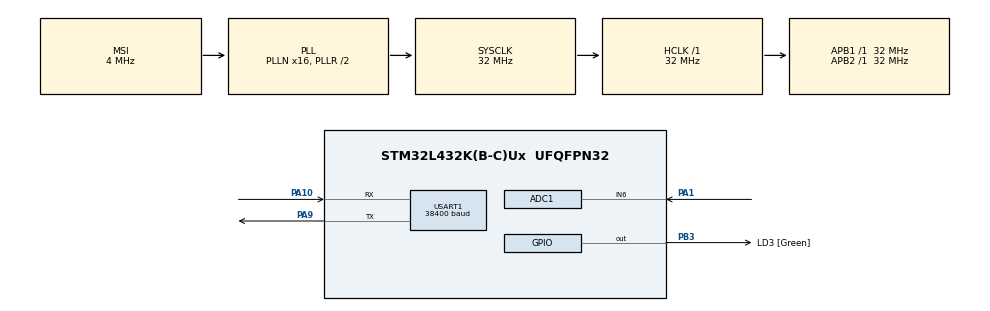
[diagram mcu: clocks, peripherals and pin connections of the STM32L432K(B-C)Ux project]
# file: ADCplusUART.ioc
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ADC1.Channel-52\#ChannelRegularConversion=ADC_CHANNEL_6
ADC1.ClockPrescaler=ADC_CLOCK_ASYNC_DIV128
ADC1.NbrOfConversionFlag=1
ADC1.OffsetNumber-52\#ChannelRegularConversion=ADC_OFFSET_NONE
ADC1.Rank-52\#ChannelRegularConversion=1
ADC1.SamplingTime-52\#ChannelRegularConversion=ADC_SAMPLETIME_640CYCLES_5
ADC1.master=1
Dma.Request0=USART1_RX
Dma.Request1=USART1_TX
Dma.USART1_RX.0.Direction=DMA_PERIPH_TO_MEMORY
Dma.USART1_RX.0.Instance=DMA1_Channel5
Dma.USART1_RX.0.MemDataAlignment=DMA_MDATAALIGN_BYTE
Dma.USART1_RX.0.MemInc=DMA_MINC_ENABLE
Dma.USART1_RX.0.Mode=DMA_NORMAL
Dma.USART1_RX.0.PeriphDataAlignment=DMA_PDATAALIGN_BYTE
Dma.USART1_RX.0.PeriphInc=DMA_PINC_DISABLE
Dma.USART1_RX.0.Priority=DMA_PRIORITY_LOW
Dma.USART1_TX.1.Direction=DMA_MEMORY_TO_PERIPH
Dma.USART1_TX.1.Instance=DMA1_Channel4
Dma.USART1_TX.1.MemDataAlignment=DMA_MDATAALIGN_BYTE
Dma.USART1_TX.1.MemInc=DMA_MINC_ENABLE
Dma.USART1_TX.1.Mode=DMA_NORMAL
Dma.USART1_TX.1.PeriphDataAlignment=DMA_PDATAALIGN_BYTE
Dma.USART1_TX.1.PeriphInc=DMA_PINC_DISABLE
Dma.USART1_TX.1.Priority=DMA_PRIORITY_LOW
Mcu.Family=STM32L4
Mcu.Name=STM32L432K(B-C)Ux
Mcu.Package=UFQFPN32
NVIC.DMA1_Channel4_IRQn=true\:0\:0\:false\:false\:true\:false
NVIC.DMA1_Channel5_IRQn=true\:0\:0\:false\:false\:true\:false
NVIC.PriorityGroup=NVIC_PRIORITYGROUP_4
NVIC.USART1_IRQn=true\:0\:0\:false\:false\:true\:true
PA0.GPIO_Label=MCO [High speed clock in]
PA0.Mode=HSE-External-Clock-Source-for-LittleOrca
PA0.Signal=RCC_CK_IN
PA1.Signal=ADCx_IN6
PA10.Mode=Asynchronous
PA10.Signal=USART1_RX
PA13\ (JTMS-SWDIO).GPIO_Label=SWDIO
PA13\ (JTMS-SWDIO).Mode=Serial_Wire
PA13\ (JTMS-SWDIO).Signal=SYS_JTMS-SWDIO
PA14\ (JTCK-SWCLK).GPIO_Label=SWCLK
PA14\ (JTCK-SWCLK).Mode=Serial_Wire
PA14\ (JTCK-SWCLK).Signal=SYS_JTCK-SWCLK
PA9.Mode=Asynchronous
PA9.Signal=USART1_TX
PB3\ (JTDO-TRACESWO).GPIO_Label=LD3 [Green]
PB3\ (JTDO-TRACESWO).Signal=GPIO_Output
PC14-OSC32_IN\ (PC14).Mode=LSE-External-Oscillator
PC14-OSC32_IN\ (PC14).Signal=RCC_OSC32_IN
PC15-OSC32_OUT\ (PC15).Mode=LSE-External-Oscillator
PC15-OSC32_OUT\ (PC15).Signal=RCC_OSC32_OUT
ProjectManager.HeapSize=0x200
ProjectManager.StackSize=0x400
ProjectManager.TargetToolchain=SW4STM32
RCC.ADCCLockSelection=RCC_ADCCLKSOURCE_SYSCLK
RCC.ADCFreq_Value=32000000
RCC.AHBFreq_Value=32000000
RCC.APB1Freq_Value=32000000
RCC.APB1TimFreq_Value=32000000
RCC.APB2Freq_Value=32000000
RCC.APB2TimFreq_Value=32000000
RCC.CortexFreq_Value=32000000
RCC.HCLKFreq_Value=32000000
RCC.HSE_VALUE=8000000
RCC.HSI16_VALUE=16000000
RCC.HSI48_VALUE=48000000
RCC.HSI_VALUE=16000000
RCC.MSI_VALUE=4000000
RCC.PLLMUL=RCC_PLLMUL_4
RCC.PLLN=16
RCC.PLLSAI1N=16
RCC.SYSCLKFreq_VALUE=32000000
RCC.SYSCLKSource=RCC_SYSCLKSOURCE_PLLCLK
RCC.USBFreq_Value=32000000
RCC.VCOOutputFreq_Value=64000000
SH.ADCx_IN6.0=ADC1_IN6,IN6-Single-Ended
USART1.BaudRate=38400
USART1.VirtualMode-Asynchronous=VM_ASYNC
USART1.WordLength=WORDLENGTH_8B
board=NUCLEO-L432KC

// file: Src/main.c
/**
  ******************************************************************************
  * @file           : main.c
  * @brief          : Main program body
  ******************************************************************************
  ** This notice applies to any and all portions of this file
  * that are not between comment pairs USER CODE BEGIN and
  * USER CODE END. Other portions of this file, whether
  * inserted by the user or by software development tools
  * are owned by their respective copyright owners.
  *
  * COPYRIGHT(c) 2018 STMicroelectronics
  *
  * Redistribution and use in source and binary forms, with or without modification,
  * are permitted provided that the following conditions are met:
  *   1. Redistributions of source code must retain the above copyright notice,
  *      this list of conditions and the following disclaimer.
  *   2. Redistributions in binary form must reproduce the above copyright notice,
  *      this list of conditions and the following disclaimer in the documentation
  *      and/or other materials provided with the distribution.
  *   3. Neither the name of STMicroelectronics nor the names of its contributors
  *      may be used to endorse or promote products derived from this software
  *      without specific prior written permission.
  *
  * THIS SOFTWARE IS PROVIDED BY THE COPYRIGHT HOLDERS AND CONTRIBUTORS "AS IS"
  * AND ANY EXPRESS OR IMPLIED WARRANTIES, INCLUDING, BUT NOT LIMITED TO, THE
  * IMPLIED WARRANTIES OF MERCHANTABILITY AND FITNESS FOR A PARTICULAR PURPOSE ARE
  * DISCLAIMED. IN NO EVENT SHALL THE COPYRIGHT HOLDER OR CONTRIBUTORS BE LIABLE
  * FOR ANY DIRECT, INDIRECT, INCIDENTAL, SPECIAL, EXEMPLARY, OR CONSEQUENTIAL
  * DAMAGES (INCLUDING, BUT NOT LIMITED TO, PROCUREMENT OF SUBSTITUTE GOODS OR
  * SERVICES; LOSS OF USE, DATA, OR PROFITS; OR BUSINESS INTERRUPTION) HOWEVER
  * CAUSED AND ON ANY THEORY OF LIABILITY, WHETHER IN CONTRACT, STRICT LIABILITY,
  * OR TORT (INCLUDING NEGLIGENCE OR OTHERWISE) ARISING IN ANY WAY OUT OF THE USE
  * OF THIS SOFTWARE, EVEN IF ADVISED OF THE POSSIBILITY OF SUCH DAMAGE.
  *
  ******************************************************************************
  */
#include "main.h"
#include "stm32l4xx_hal.h"

ADC_HandleTypeDef hadc1;

UART_HandleTypeDef huart1;
DMA_HandleTypeDef hdma_usart1_rx;
DMA_HandleTypeDef hdma_usart1_tx;

/* USER CODE BEGIN PV */
/* Private variables ---------------------------------------------------------*/

uint8_t data[50]; // Tablica przechowujaca wysylana wiadomosc.
uint8_t received[20]; // Tablica przechowujaca wysylana wiadomosc.
uint8_t Stackreceived[100]; // Tablica przechowujaca wysylana wiadomosc.
uint16_t PomiarADC;
uint8_t size;
/* USER CODE END PV */

void SystemClock_Config(void);
static void MX_GPIO_Init(void);
static void MX_DMA_Init(void);
static void MX_ADC1_Init(void);
static void MX_USART1_UART_Init(void);

/* USER CODE BEGIN PFP */
/* Private function prototypes -----------------------------------------------*/
void HAL_UART_RxCpltCallback(UART_HandleTypeDef *huart) {
	 sprintf(data, "Odebrana wiadomosc: %s", received);

	 HAL_UART_Transmit_DMA(&huart1, data, 40); // Rozpoczecie nadawania danych z wykorzystaniem przerwan
	 HAL_UART_Receive_DMA(&huart1, received, 20); // Ponowne włączenie nasłuchiwania

}
/* USER CODE END PFP */

int main(void)
{

  /* MCU Configuration----------------------------------------------------------*/

  /* Reset of all peripherals, Initializes the Flash interface and the Systick. */
  HAL_Init();

  /* Configure the system clock */
  SystemClock_Config();

  /* Initialize all configured peripherals */
  MX_GPIO_Init();
  MX_DMA_Init();
  MX_ADC1_Init();
  MX_USART1_UART_Init();
  /* USER CODE BEGIN 2 */

 HAL_UART_Receive_DMA(&huart1, received, 20);
 HAL_ADC_Start(&hadc1);
  /* USER CODE END 2 */

  /* Infinite loop */
  /* USER CODE BEGIN WHILE */
  while (1)
  {
	  HAL_Delay(100);
	  if (HAL_ADC_PollForConversion(&hadc1, 10) == HAL_OK) {
		  PomiarADC = HAL_ADC_GetValue(&hadc1);
		  size = sprintf(data, "%d\n", PomiarADC);
		  HAL_UART_Transmit_DMA(&huart1,data,size);
		  HAL_ADC_Start(&hadc1);
		  }
  /* USER CODE END WHILE */

  }

}

void SystemClock_Config(void)
{

  RCC_OscInitTypeDef RCC_OscInitStruct;
  RCC_ClkInitTypeDef RCC_ClkInitStruct;
  RCC_PeriphCLKInitTypeDef PeriphClkInit;

    /**Configure LSE Drive Capability
    */
  HAL_PWR_EnableBkUpAccess();

  __HAL_RCC_LSEDRIVE_CONFIG(RCC_LSEDRIVE_LOW);

    /**Initializes the CPU, AHB and APB busses clocks
    */
  RCC_OscInitStruct.OscillatorType = RCC_OSCILLATORTYPE_LSE|RCC_OSCILLATORTYPE_MSI;
  RCC_OscInitStruct.LSEState = RCC_LSE_ON;
  RCC_OscInitStruct.MSIState = RCC_MSI_ON;
  RCC_OscInitStruct.MSICalibrationValue = 0;
  RCC_OscInitStruct.MSIClockRange = RCC_MSIRANGE_6;
  RCC_OscInitStruct.PLL.PLLState = RCC_PLL_ON;
  RCC_OscInitStruct.PLL.PLLSource = RCC_PLLSOURCE_MSI;
  RCC_OscInitStruct.PLL.PLLN = 16;
  RCC_OscInitStruct.PLL.PLLP = RCC_PLLP_DIV7;
  RCC_OscInitStruct.PLL.PLLQ = RCC_PLLQ_DIV2;
  RCC_OscInitStruct.PLL.PLLR = RCC_PLLR_DIV2;
  if (HAL_RCC_OscConfig(&RCC_OscInitStruct) != HAL_OK)
  {
    _Error_Handler(__FILE__, __LINE__);
  }

    /**Initializes the CPU, AHB and APB busses clocks
    */
  RCC_ClkInitStruct.ClockType = RCC_CLOCKTYPE_HCLK|RCC_CLOCKTYPE_SYSCLK
                              |RCC_CLOCKTYPE_PCLK1|RCC_CLOCKTYPE_PCLK2;
  RCC_ClkInitStruct.SYSCLKSource = RCC_SYSCLKSOURCE_PLLCLK;
  RCC_ClkInitStruct.AHBCLKDivider = RCC_SYSCLK_DIV1;
  RCC_ClkInitStruct.APB1CLKDivider = RCC_HCLK_DIV1;
  RCC_ClkInitStruct.APB2CLKDivider = RCC_HCLK_DIV1;

  if (HAL_RCC_ClockConfig(&RCC_ClkInitStruct, FLASH_LATENCY_1) != HAL_OK)
  {
    _Error_Handler(__FILE__, __LINE__);
  }

  PeriphClkInit.PeriphClockSelection = RCC_PERIPHCLK_USART1|RCC_PERIPHCLK_ADC;
  PeriphClkInit.Usart1ClockSelection = RCC_USART1CLKSOURCE_PCLK2;
  PeriphClkInit.AdcClockSelection = RCC_ADCCLKSOURCE_SYSCLK;
  if (HAL_RCCEx_PeriphCLKConfig(&PeriphClkInit) != HAL_OK)
  {
    _Error_Handler(__FILE__, __LINE__);
  }

    /**Configure the main internal regulator output voltage
    */
  if (HAL_PWREx_ControlVoltageScaling(PWR_REGULATOR_VOLTAGE_SCALE1) != HAL_OK)
  {
    _Error_Handler(__FILE__, __LINE__);
  }

    /**Configure the Systick interrupt time
    */
  HAL_SYSTICK_Config(HAL_RCC_GetHCLKFreq()/1000);

    /**Configure the Systick
    */
  HAL_SYSTICK_CLKSourceConfig(SYSTICK_CLKSOURCE_HCLK);

    /**Enable MSI Auto calibration
    */
  HAL_RCCEx_EnableMSIPLLMode();

  /* SysTick_IRQn interrupt configuration */
  HAL_NVIC_SetPriority(SysTick_IRQn, 0, 0);
}

/* ADC1 init function */
static void MX_ADC1_Init(void)
{

  ADC_ChannelConfTypeDef sConfig;

    /**Common config
    */
  hadc1.Instance = ADC1;
  hadc1.Init.ClockPrescaler = ADC_CLOCK_ASYNC_DIV128;
  hadc1.Init.Resolution = ADC_RESOLUTION_12B;
  hadc1.Init.DataAlign = ADC_DATAALIGN_RIGHT;
  hadc1.Init.ScanConvMode = ADC_SCAN_DISABLE;
  hadc1.Init.EOCSelection = ADC_EOC_SINGLE_CONV;
  hadc1.Init.LowPowerAutoWait = DISABLE;
  hadc1.Init.ContinuousConvMode = DISABLE;
  hadc1.Init.NbrOfConversion = 1;
  hadc1.Init.DiscontinuousConvMode = DISABLE;
  hadc1.Init.NbrOfDiscConversion = 1;
  hadc1.Init.ExternalTrigConv = ADC_SOFTWARE_START;
  hadc1.Init.ExternalTrigConvEdge = ADC_EXTERNALTRIGCONVEDGE_NONE;
  hadc1.Init.DMAContinuousRequests = DISABLE;
  hadc1.Init.Overrun = ADC_OVR_DATA_PRESERVED;
  hadc1.Init.OversamplingMode = DISABLE;
  if (HAL_ADC_Init(&hadc1) != HAL_OK)
  {
    _Error_Handler(__FILE__, __LINE__);
  }

    /**Configure Regular Channel
    */
  sConfig.Channel = ADC_CHANNEL_6;
  sConfig.Rank = ADC_REGULAR_RANK_1;
  sConfig.SamplingTime = ADC_SAMPLETIME_640CYCLES_5;
  sConfig.SingleDiff = ADC_SINGLE_ENDED;
  sConfig.OffsetNumber = ADC_OFFSET_NONE;
  sConfig.Offset = 0;
  if (HAL_ADC_ConfigChannel(&hadc1, &sConfig) != HAL_OK)
  {
    _Error_Handler(__FILE__, __LINE__);
  }

}

/* USART1 init function */
static void MX_USART1_UART_Init(void)
{

  huart1.Instance = USART1;
  huart1.Init.BaudRate = 38400;
  huart1.Init.WordLength = UART_WORDLENGTH_8B;
  huart1.Init.StopBits = UART_STOPBITS_1;
  huart1.Init.Parity = UART_PARITY_NONE;
  huart1.Init.Mode = UART_MODE_TX_RX;
  huart1.Init.HwFlowCtl = UART_HWCONTROL_NONE;
  huart1.Init.OverSampling = UART_OVERSAMPLING_16;
  huart1.Init.OneBitSampling = UART_ONE_BIT_SAMPLE_DISABLE;
  huart1.AdvancedInit.AdvFeatureInit = UART_ADVFEATURE_NO_INIT;
  if (HAL_UART_Init(&huart1) != HAL_OK)
  {
    _Error_Handler(__FILE__, __LINE__);
  }

}

static void MX_DMA_Init(void)
{
  /* DMA controller clock enable */
  __HAL_RCC_DMA1_CLK_ENABLE();

  /* DMA interrupt init */
  /* DMA1_Channel4_IRQn interrupt configuration */
  HAL_NVIC_SetPriority(DMA1_Channel4_IRQn, 0, 0);
  HAL_NVIC_EnableIRQ(DMA1_Channel4_IRQn);
  /* DMA1_Channel5_IRQn interrupt configuration */
  HAL_NVIC_SetPriority(DMA1_Channel5_IRQn, 0, 0);
  HAL_NVIC_EnableIRQ(DMA1_Channel5_IRQn);

}

/** Configure pins as
        * Analog
        * Input
        * Output
        * EVENT_OUT
        * EXTI
*/
static void MX_GPIO_Init(void)
{

  GPIO_InitTypeDef GPIO_InitStruct;

  /* GPIO Ports Clock Enable */
  __HAL_RCC_GPIOC_CLK_ENABLE();
  __HAL_RCC_GPIOA_CLK_ENABLE();
  __HAL_RCC_GPIOB_CLK_ENABLE();

  /*Configure GPIO pin Output Level */
  HAL_GPIO_WritePin(LD3_GPIO_Port, LD3_Pin, GPIO_PIN_RESET);

  /*Configure GPIO pin : LD3_Pin */
  GPIO_InitStruct.Pin = LD3_Pin;
  GPIO_InitStruct.Mode = GPIO_MODE_OUTPUT_PP;
  GPIO_InitStruct.Pull = GPIO_NOPULL;
  GPIO_InitStruct.Speed = GPIO_SPEED_FREQ_LOW;
  HAL_GPIO_Init(LD3_GPIO_Port, &GPIO_InitStruct);

}

void _Error_Handler(char *file, int line)
{
  while(1)
  {
  }
}

/************************ (C) COPYRIGHT STMicroelectronics *****END OF FILE****/
